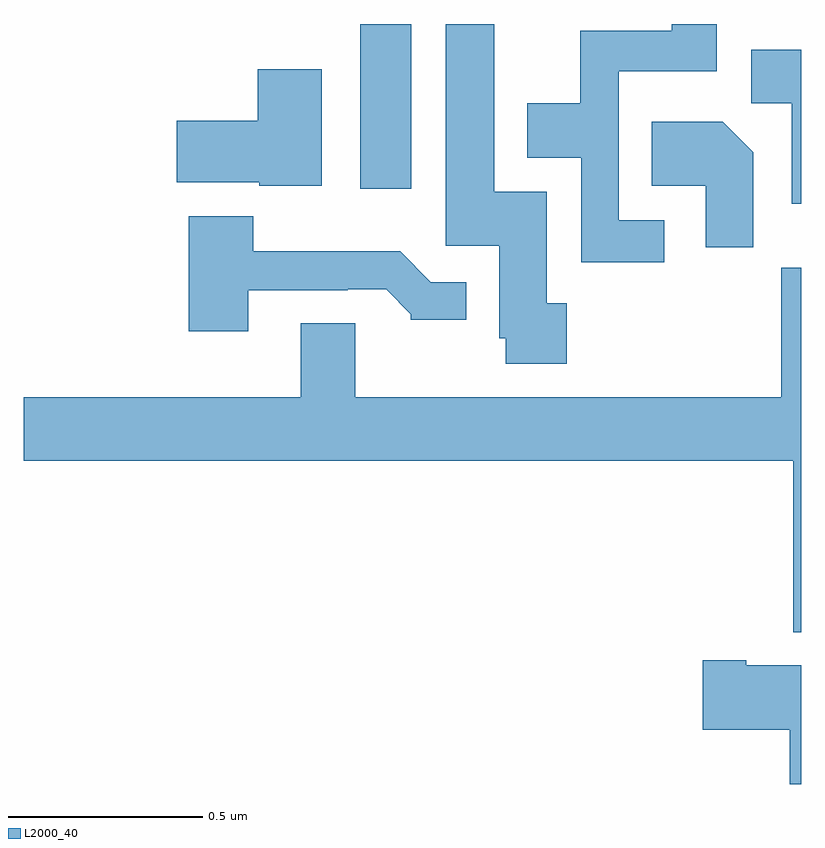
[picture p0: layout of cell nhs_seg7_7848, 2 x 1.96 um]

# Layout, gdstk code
import gdstk
lib = gdstk.Library(unit=1e-6, precision=1e-09)
def R(c, l, rs):  # rectangles x0, y0, x1, y1
    for r in rs: c.add(gdstk.rectangle(r[:2], r[2:], *l))
def P(c, l, *ps):  # polygons
    for p in ps: c.add(gdstk.Polygon(p, *l))
L2000_40 = (2000, 40)

nhs_seg7_7848 = lib.new_cell('nhs_seg7_7848')
R(nhs_seg7_7848, L2000_40, [(216.866,1074.576,216.997,1075)])
P(nhs_seg7_7848, L2000_40, [(217.397,1074.282),(217.345,1074.282),(217.345,1074.568),(217.21,1074.568),(217.21,1075),(217.085,1075),(217.085,1074.429),(217.223,1074.429),(217.223,1074.192),(217.24,1074.192),(217.24,1074.126),(217.397,1074.126)],
  [(217.648,1074.495),(217.53,1074.495),(217.53,1074.878),(217.783,1074.878),(217.783,1075),(217.667,1075),(217.667,1074.982),(217.432,1074.982),(217.432,1074.796),(217.295,1074.796),(217.295,1074.656),(217.434,1074.656),(217.434,1074.387),(217.648,1074.387)],
  [(218,1074.934),(217.871,1074.934),(217.871,1074.796),(217.976,1074.796),(217.976,1074.537),(218,1074.537)],
  [(216.766,1074.883),(216.602,1074.883),(216.602,1074.751),(216.393,1074.751),(216.393,1074.593),(216.606,1074.593),(216.606,1074.584),(216.766,1074.584)],
  [(217.876,1074.67),(217.798,1074.748),(217.615,1074.748),(217.615,1074.584),(217.754,1074.584),(217.754,1074.426),(217.876,1074.426)],
  [(216.577,1074.315),(216.833,1074.315),(216.833,1074.318),(216.932,1074.318),(216.996,1074.254),(216.996,1074.239),(217.138,1074.239),(217.138,1074.336),(217.047,1074.336),(216.969,1074.415),(216.59,1074.415),(216.59,1074.505),(216.425,1074.505),(216.425,1074.21),(216.577,1074.21)],
  [(217.948,1074.04),(216.853,1074.04),(216.853,1074.23),(216.713,1074.23),(216.713,1074.04),(216,1074.04),(216,1073.876),(217.979,1073.876),(217.979,1073.435),(218,1073.435),(218,1074.373),(217.948,1074.373)],
  [(218,1073.35),(217.858,1073.35),(217.858,1073.363),(217.746,1073.363),(217.746,1073.185),(217.97,1073.185),(217.97,1073.045),(218,1073.045)])

lib.write_gds('nhs_seg7_7848.gds')
